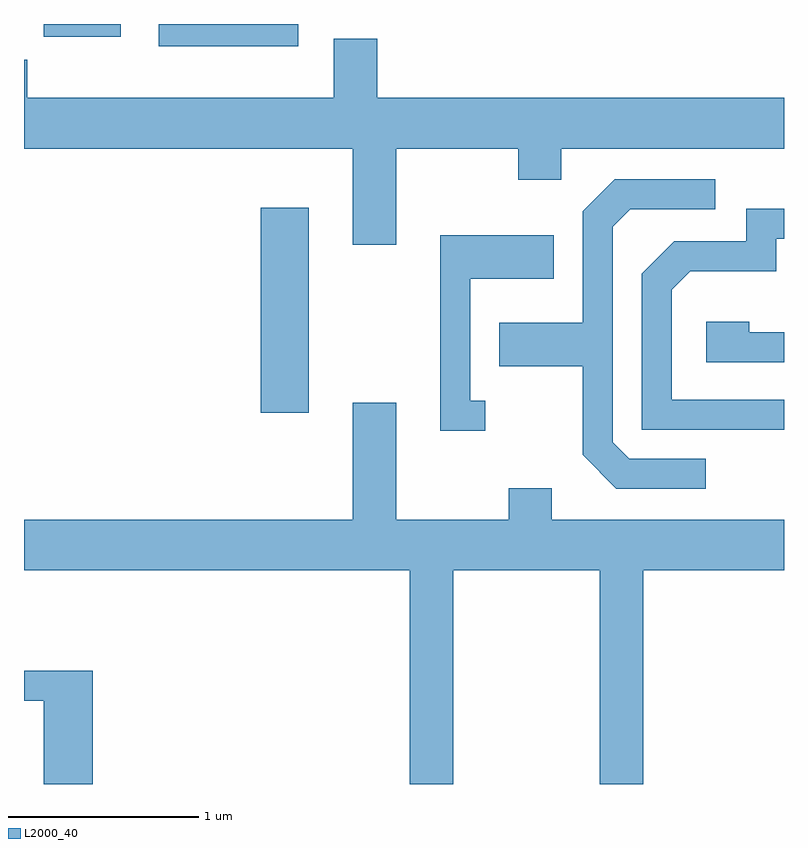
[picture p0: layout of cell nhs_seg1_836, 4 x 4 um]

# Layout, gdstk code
import gdstk
lib = gdstk.Library(unit=1e-6, precision=1e-09)
def R(c, l, rs):  # rectangles x0, y0, x1, y1
    for r in rs: c.add(gdstk.rectangle(r[:2], r[2:], *l))
def P(c, l, *ps):  # polygons
    for p in ps: c.add(gdstk.Polygon(p, *l))
L2000_40 = (2000, 40)

nhs_seg1_836 = lib.new_cell('nhs_seg1_836')
R(nhs_seg1_836, L2000_40, [(210.856,973.666,211.109,974.744), (210.321,975.596,211.054,975.712), (209.716,975.646,210.119,975.712)])
P(nhs_seg1_836, L2000_40, [(211.569,975.056),(212.211,975.056),(212.211,974.891),(212.439,974.891),(212.439,975.056),(213.611,975.056),(213.611,975.324),(211.469,975.324),(211.469,975.634),(211.241,975.634),(211.241,975.324),(209.629,975.324),(209.629,975.524),(209.611,975.524),(209.611,975.056),(211.341,975.056),(211.341,974.551),(211.569,974.551)],
  [(213.198,973.424),(212.797,973.424),(212.709,973.512),(212.709,974.644),(212.802,974.736),(213.248,974.736),(213.248,974.894),(212.719,974.894),(212.551,974.727),(212.551,974.139),(212.111,974.139),(212.111,973.911),(212.551,973.911),(212.551,973.444),(212.729,973.266),(213.198,973.266)],
  [(213.611,973.734),(213.019,973.734),(213.019,974.314),(213.117,974.411),(213.569,974.411),(213.569,974.581),(213.611,974.581),(213.611,974.739),(213.411,974.739),(213.411,974.569),(213.034,974.569),(212.861,974.397),(212.861,973.576),(213.611,973.576)],
  [(212.038,973.729),(211.959,973.729),(211.959,974.371),(212.399,974.371),(212.399,974.599),(211.801,974.599),(211.801,973.571),(212.038,973.571)],
  [(213.611,974.089),(213.429,974.089),(213.429,974.144),(213.201,974.144),(213.201,973.931),(213.611,973.931)],
  [(211.869,972.836),(212.641,972.836),(212.641,971.712),(212.869,971.712),(212.869,972.836),(213.611,972.836),(213.611,973.104),(212.389,973.104),(212.389,973.269),(212.161,973.269),(212.161,973.104),(211.569,973.104),(211.569,973.719),(211.341,973.719),(211.341,973.104),(209.611,973.104),(209.611,972.836),(211.641,972.836),(211.641,971.712),(211.869,971.712)],
  [(209.974,972.309),(209.611,972.309),(209.611,972.151),(209.716,972.151),(209.716,971.712),(209.974,971.712)])

lib.write_gds('nhs_seg1_836.gds')
